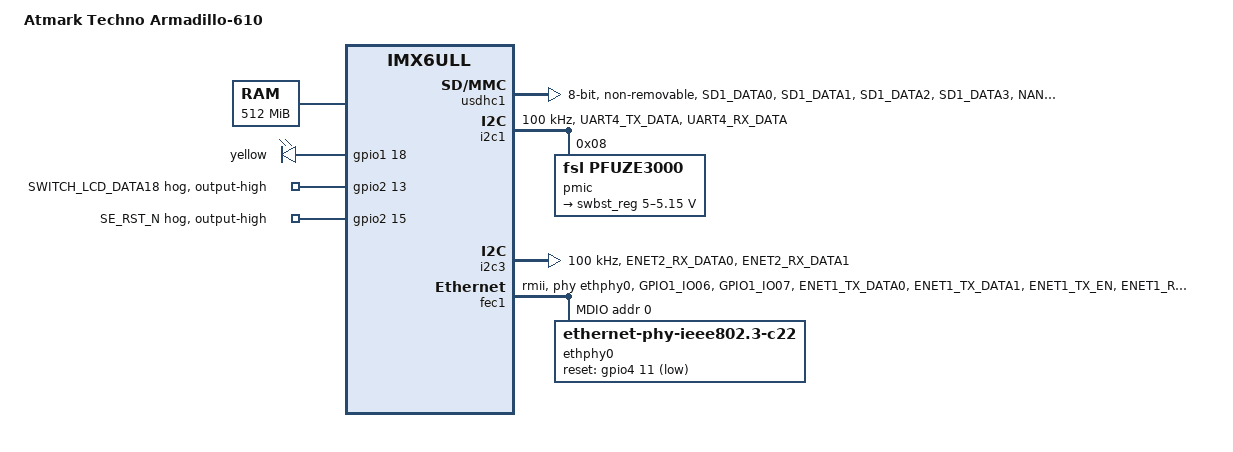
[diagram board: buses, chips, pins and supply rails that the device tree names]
/*
 * Copyright (C) 2020 Atmark Techno, Inc. All Rights Reserved.
 *
 * SPDX-License-Identifier: (GPL-2.0 OR MIT)
 */

/dts-v1/;

#include "imx6ull.dtsi"
#ifndef ARMADILLO610_UNUSE_ONBOARD_USDHC2
#include "armadillo-610-onboard-usdhc2.dtsi"
#endif

/ {
	model = "Atmark Techno Armadillo-610";
	compatible = "atmark,a610", "fsl,imx6ull";

	memory {
		reg = <0x80000000 0x20000000>;
	};

	gpio-leds {
		compatible = "gpio-leds";
		pinctrl-names = "default";
		pinctrl-0 = <&pinctrl_gpio_leds>;

		yellow {
			label = "yellow";
			gpios = <&gpio1 18 GPIO_ACTIVE_HIGH>;
			linux,default-trigger = "none";
		};
	};
};

&usdhc1 {
	pinctrl-names = "default";
	pinctrl-0 = <&pinctrl_usdhc1>;
	bus-width = <8>;
	no-1-8-v;
	non-removable;
	keep-power-in-suspend;
	wakeup-source;
	status = "okay";
};

&iomuxc {
	pinctrl-names = "default";
	pinctrl-0 = <
#ifdef ARMADILLO610_AT_DTWEB
			&pinctrl_expansion_interfacehog
#endif
		    >;

	pinctrl_enet1: enet1grp {
		fsl,pins = <
			MX6UL_PAD_GPIO1_IO06__ENET1_MDIO	0x0b808
			MX6UL_PAD_GPIO1_IO07__ENET1_MDC		0x0b008
			MX6UL_PAD_ENET1_TX_DATA0__ENET1_TDATA00	0x0b010
			MX6UL_PAD_ENET1_TX_DATA1__ENET1_TDATA01	0x0b010
			MX6UL_PAD_ENET1_TX_EN__ENET1_TX_EN	0x1b0b0
			MX6UL_PAD_ENET1_RX_DATA0__ENET1_RDATA00	0x1b0b0
			MX6UL_PAD_ENET1_RX_DATA1__ENET1_RDATA01	0x1b0b0
			MX6UL_PAD_ENET1_RX_ER__ENET1_RX_ER	0x1b0b0
			MX6UL_PAD_ENET1_RX_EN__ENET1_RX_EN	0x1b0b0
			MX6UL_PAD_ENET1_TX_CLK__ENET1_REF_CLK1	0x4001b018
		>;
	};

	pinctrl_i2c1: i2c1grp {
		fsl,pins = <
			MX6UL_PAD_UART4_TX_DATA__I2C1_SCL	0x4001b8b0
			MX6UL_PAD_UART4_RX_DATA__I2C1_SDA	0x4001b8b0
		>;
	};

	pinctrl_i2c3: i2c3grp {
		fsl,pins = <
			MX6UL_PAD_ENET2_RX_DATA0__I2C3_SCL	0x4001b8b0
			MX6UL_PAD_ENET2_RX_DATA1__I2C3_SDA	0x4001b8b0
		>;
	};

	pinctrl_switch_lcd_data18: switchlcddata18grp {
		fsl,pins = <
			MX6UL_PAD_ENET2_TX_EN__GPIO2_IO13	0x400010b0
		>;
	};

	pinctrl_se_reset_n: seresetngrp {
		fsl,pins = <
			MX6UL_PAD_ENET2_RX_ER__GPIO2_IO15	0x400010b0
		>;
	};

	pinctrl_usdhc1: usdhc1grp {
		fsl,pins = <
			MX6UL_PAD_SD1_DATA0__USDHC1_DATA0	0x17059
			MX6UL_PAD_SD1_DATA1__USDHC1_DATA1	0x17059
			MX6UL_PAD_SD1_DATA2__USDHC1_DATA2	0x17059
			MX6UL_PAD_SD1_DATA3__USDHC1_DATA3	0x17059
			MX6UL_PAD_NAND_READY_B__USDHC1_DATA4	0x17059
			MX6UL_PAD_NAND_CE0_B__USDHC1_DATA5	0x17059
			MX6UL_PAD_NAND_CE1_B__USDHC1_DATA6	0x17059
			MX6UL_PAD_NAND_CLE__USDHC1_DATA7	0x17059
			MX6UL_PAD_SD1_CLK__USDHC1_CLK		0x17059
			MX6UL_PAD_SD1_CMD__USDHC1_CMD		0x17059
			MX6UL_PAD_GPIO1_IO09__USDHC1_RESET_B	0x17059
		>;
	};

	pinctrl_gpio_leds: gpioledsgrp {
		fsl,pins = <
			MX6UL_PAD_UART1_CTS_B__GPIO1_IO18  0x00008
		>;
	};

	pinctrl_wdog: wdoggrp {
		fsl,pins = <
			MX6UL_PAD_LCD_RESET__WDOG1_WDOG_ANY    0x30b0
		>;
	};
};

&iomuxc_snvs {
	pinctrl-names = "default";
	pinctrl-0 = <
#ifdef ARMADILLO610_AT_DTWEB
			&pinctrl_expansion_interfacehog_snvs
#endif
		    >;
};

&i2c1 {
	pinctrl-names = "default";
	pinctrl-0 = <&pinctrl_i2c1>;
	clock-frequency = <100000>;
	status = "okay";

	pmic: pfuze3000@08 {
		compatible = "fsl,pfuze3000";
		reg = <0x08>;

		regulators {
			swbst_reg: swbst {
				regulator-min-microvolt = <5000000>;
				regulator-max-microvolt = <5150000>;
				regulator-boot-on;
				regulator-always-on;
				regulator-ramp-delay = <6250>;
			};
		};
	};
};

&i2c3 {
	pinctrl-names = "default";
	pinctrl-0 = <&pinctrl_i2c3>;
	clock-frequency = <100000>;
	status = "okay";

	/* for secure element */
};

&fec1 {
	pinctrl-names = "default";
	pinctrl-0 = <&pinctrl_enet1>;
	phy-mode = "rmii";
	phy-handle = <&ethphy0>;
	status = "okay";

	mdio {
		#address-cells = <1>;
		#size-cells = <0>;

		ethphy0: ethernet-phy@0 {
			compatible = "ethernet-phy-ieee802.3-c22";
			reset-gpios = <&gpio4 11 GPIO_ACTIVE_LOW>;
			reset-delay-us = <800>;
			reset-post-delay-us = <15000>;
			reg = <0>;
			clocks = <&clks IMX6UL_CLK_ENET_REF>;
			clock-names = "rmii-ref";

		};
	};
};

&snvs_poweroff {
	status = "okay";
};

&wdog1 {
	pinctrl-names = "default";
	pinctrl-0 = <&pinctrl_wdog>;
	timeout-sec = <10>;
	fsl,ext-reset-output;
};

&gpio2 {
	switch_lcd_data18 {
		pinctrl-names = "default";
		pinctrl-0 = <&pinctrl_switch_lcd_data18>;

		gpio-hog;
		gpios = <13 GPIO_ACTIVE_HIGH>;
		line-name = "SWITCH_LCD_DATA18";
		output-high;
	};

	se_rst_n {
		pinctrl-names = "default";
		pinctrl-0 = <&pinctrl_se_reset_n>;

		gpio-hog;
		gpios = <15 GPIO_ACTIVE_HIGH>;
		line-name = "SE_RST_N";
		output-high;
	};
};
